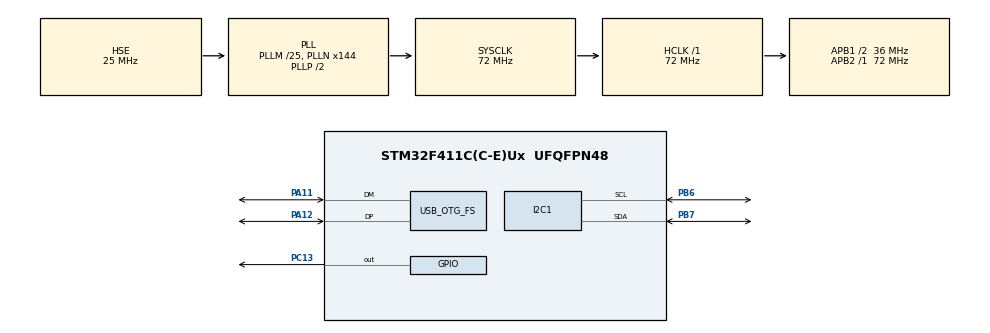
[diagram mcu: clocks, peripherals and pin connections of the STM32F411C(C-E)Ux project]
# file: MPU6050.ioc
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Mcu.Family=STM32F4
Mcu.Name=STM32F411C(C-E)Ux
Mcu.Package=UFQFPN48
NVIC.OTG_FS_IRQn=true\:0\:0\:false\:false\:true\:false\:true\:true
NVIC.PriorityGroup=NVIC_PRIORITYGROUP_4
PA11.Mode=Device_Only
PA11.Signal=USB_OTG_FS_DM
PA12.Mode=Device_Only
PA12.Signal=USB_OTG_FS_DP
PB6.Mode=I2C
PB6.Signal=I2C1_SCL
PB7.Mode=I2C
PB7.Signal=I2C1_SDA
PC13-ANTI_TAMP.Signal=GPIO_Output
PH0\ -\ OSC_IN.Mode=HSE-External-Oscillator
PH0\ -\ OSC_IN.Signal=RCC_OSC_IN
PH1\ -\ OSC_OUT.Mode=HSE-External-Oscillator
PH1\ -\ OSC_OUT.Signal=RCC_OSC_OUT
ProjectManager.HeapSize=0x200
ProjectManager.StackSize=0x400
ProjectManager.TargetToolchain=STM32CubeIDE
RCC.48MHZClocksFreq_Value=48000000
RCC.AHBFreq_Value=72000000
RCC.APB1CLKDivider=RCC_HCLK_DIV2
RCC.APB1Freq_Value=36000000
RCC.APB1TimFreq_Value=72000000
RCC.APB2Freq_Value=72000000
RCC.APB2TimFreq_Value=72000000
RCC.CortexFreq_Value=72000000
RCC.HCLKFreq_Value=72000000
RCC.HSE_VALUE=25000000
RCC.HSI_VALUE=16000000
RCC.LSE_VALUE=32768
RCC.PLLM=25
RCC.PLLN=144
RCC.PLLQ=3
RCC.PLLSourceVirtual=RCC_PLLSOURCE_HSE
RCC.SYSCLKFreq_VALUE=72000000
RCC.SYSCLKSource=RCC_SYSCLKSOURCE_PLLCLK
RCC.VCOOutputFreq_Value=144000000
USB_DEVICE.CLASS_NAME_FS=CDC
USB_DEVICE.VirtualMode=Cdc
USB_DEVICE.VirtualModeFS=Cdc_FS
USB_OTG_FS.VirtualMode=Device_Only
VP_USB_DEVICE_VS_USB_DEVICE_CDC_FS.Mode=CDC_FS
board=custom

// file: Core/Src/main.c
/* USER CODE BEGIN Header */
/**
  ******************************************************************************
  * @file           : main.c
  * @brief          : Main program body
  ******************************************************************************
  * @attention
  *
  * Copyright (c) 2024 STMicroelectronics.
  * All rights reserved.
  *
  * This software is licensed under terms that can be found in the LICENSE file
  * in the root directory of this software component.
  * If no LICENSE file comes with this software, it is provided AS-IS.
  *
  ******************************************************************************
  */
/* USER CODE END Header */
#include "main.h"
#include "usb_device.h"

/* USER CODE BEGIN Includes */
#include <stdint.h>
#include <string.h>
#include <stdio.h>
#include <math.h>
#include <usbd_cdc_if.h>

#define MPU6050_ADDR 0x68 << 1  // Dirección I2C del MPU6050
#define WHO_AM_I_REG 0x75       // Registro de identificación del MPU6050
#define PWR_MGMT_1_REG 0x6B     // Registro de gestión de energía
#define ACCEL_XOUT_H 0x3B       // Registro de acelerómetro (X alto)
#define GYRO_XOUT_H  0x43       // Registro de giroscopio (X alto)
/* USER CODE END Includes */

I2C_HandleTypeDef hi2c1;

void SystemClock_Config(void);
static void MX_GPIO_Init(void);
static void MX_I2C1_Init(void);

/* USER CODE BEGIN 0 */
// Enviar datos por USB
void MPU6050_Init(void) {
    uint8_t data;

    // Verifica el WHO_AM_I para asegurarte de que el MPU6050 está presente
    HAL_I2C_Mem_Read(&hi2c1, MPU6050_ADDR, WHO_AM_I_REG, 1, &data, 1, HAL_MAX_DELAY);
    if (data != 0x68) {
        while (1) {
            // Error: MPU6050 no detectado
        }
    }

    // Salir del modo de suspensión
    data = 0x00;
    HAL_I2C_Mem_Write(&hi2c1, MPU6050_ADDR, PWR_MGMT_1_REG, 1, &data, 1, HAL_MAX_DELAY);
}

void MPU6050_ReadAccel(int16_t *accel) {
    uint8_t buffer[6];

    // Leer registros de acelerómetro
    HAL_I2C_Mem_Read(&hi2c1, MPU6050_ADDR, ACCEL_XOUT_H, 1, buffer, 6, HAL_MAX_DELAY);

    // Convertir datos a valores de 16 bits
    accel[0] = (int16_t)(buffer[0] << 8 | buffer[1]); // X
    accel[1] = (int16_t)(buffer[2] << 8 | buffer[3]); // Y
    accel[2] = (int16_t)(buffer[4] << 8 | buffer[5]); // Z
}

void MPU6050_ReadGyro(int16_t *gyro) {
    uint8_t buffer[6];

    // Leer registros de giroscopio
    HAL_I2C_Mem_Read(&hi2c1, MPU6050_ADDR, GYRO_XOUT_H, 1, buffer, 6, HAL_MAX_DELAY);

    // Convertir datos a valores de 16 bits
    gyro[0] = (int16_t)(buffer[0] << 8 | buffer[1]); // X
    gyro[1] = (int16_t)(buffer[2] << 8 | buffer[3]); // Y
    gyro[2] = (int16_t)(buffer[4] << 8 | buffer[5]); // Z
}

void CalibrateGyro(int16_t *gyro_bias) {
    int16_t gyro[3];
    int32_t gyro_sum[3] = {0, 0, 0};
    const int num_samples = 100;

    // Toma múltiples lecturas en reposo
    for (int i = 0; i < num_samples; i++) {
        MPU6050_ReadGyro(gyro);
        gyro_sum[0] += gyro[0];
        gyro_sum[1] += gyro[1];
        gyro_sum[2] += gyro[2];
        HAL_Delay(10); // Espera entre lecturas
    }

    // Calcula el promedio
    gyro_bias[0] = gyro_sum[0] / num_samples;
    gyro_bias[1] = gyro_sum[1] / num_samples;
    gyro_bias[2] = gyro_sum[2] / num_samples;

    // Enviar datos de calibración por Bluetooth
    char buffer[128];
    snprintf(buffer, sizeof(buffer),
             "Gyro Bias: X=%d, Y=%d, Z=%d\r\n",
             gyro_bias[0], gyro_bias[1], gyro_bias[2]);
    Send_Data_USB(buffer);
}
void Send_Data_USB(const char *data) {
    CDC_Transmit_FS((uint8_t *)data, strlen(data));
}
/* USER CODE END 0 */

int main(void)
{

  /* MCU Configuration--------------------------------------------------------*/

  /* Reset of all peripherals, Initializes the Flash interface and the Systick. */
  HAL_Init();

  /* Configure the system clock */
  SystemClock_Config();

  /* Initialize all configured peripherals */
  MX_GPIO_Init();
  MX_I2C1_Init();
  MX_USB_DEVICE_Init();
  /* USER CODE BEGIN 2 */

  MPU6050_Init();

  int16_t accel[3], gyro[3], gyro_bias[3];
  char buffer[128];
  float angle_acc, angle_gyro = 0, angle_fused = 0;
  const float dt = 0.01; // Intervalo de tiempo (10 ms)
  const float alpha = 0.98; // Constante del filtro complementario
  /* USER CODE END 2 */

  /* Infinite loop */
  while (1)
  {
      MPU6050_ReadAccel(accel);
      MPU6050_ReadGyro(gyro);

      // Calcular el ángulo del acelerómetro (basado en la inclinación)
      angle_acc = atan2((float)accel[1], (float)accel[2]) * (180.0 / M_PI);

      // Corregir el sesgo del giroscopio y calcular el cambio de ángulo
      gyro[0] -= gyro_bias[0]; // Usamos solo el eje X para el giro en este caso
      angle_gyro += ((float)gyro[0] / 131.0) * dt; // 131.0 es la sensibilidad del giroscopio en dps

      // Fusión del ángulo usando el filtro complementario
      angle_fused = alpha * (angle_fused + ((float)gyro[0] / 131.0) * dt) + (1 - alpha) * angle_acc;

      // Formatea los datos en un buffer
      snprintf(buffer, sizeof(buffer),
               "Accel Angle: %.2f | Gyro Angle: %.2f | Fused Angle: %.2f\r\n",
               angle_acc, angle_gyro, angle_fused);

      // Enviar los datos por Bluetooth
      Send_Data_USB(buffer);

      HAL_Delay(10); // Espera 10 ms
  }
}

void SystemClock_Config(void)
{
  RCC_OscInitTypeDef RCC_OscInitStruct = {0};
  RCC_ClkInitTypeDef RCC_ClkInitStruct = {0};

  /** Configure the main internal regulator output voltage
  */
  __HAL_RCC_PWR_CLK_ENABLE();
  __HAL_PWR_VOLTAGESCALING_CONFIG(PWR_REGULATOR_VOLTAGE_SCALE1);

  /** Initializes the RCC Oscillators according to the specified parameters
  * in the RCC_OscInitTypeDef structure.
  */
  RCC_OscInitStruct.OscillatorType = RCC_OSCILLATORTYPE_HSE;
  RCC_OscInitStruct.HSEState = RCC_HSE_ON;
  RCC_OscInitStruct.PLL.PLLState = RCC_PLL_ON;
  RCC_OscInitStruct.PLL.PLLSource = RCC_PLLSOURCE_HSE;
  RCC_OscInitStruct.PLL.PLLM = 25;
  RCC_OscInitStruct.PLL.PLLN = 144;
  RCC_OscInitStruct.PLL.PLLP = RCC_PLLP_DIV2;
  RCC_OscInitStruct.PLL.PLLQ = 3;
  if (HAL_RCC_OscConfig(&RCC_OscInitStruct) != HAL_OK)
  {
    Error_Handler();
  }

  /** Initializes the CPU, AHB and APB buses clocks
  */
  RCC_ClkInitStruct.ClockType = RCC_CLOCKTYPE_HCLK|RCC_CLOCKTYPE_SYSCLK
                              |RCC_CLOCKTYPE_PCLK1|RCC_CLOCKTYPE_PCLK2;
  RCC_ClkInitStruct.SYSCLKSource = RCC_SYSCLKSOURCE_PLLCLK;
  RCC_ClkInitStruct.AHBCLKDivider = RCC_SYSCLK_DIV1;
  RCC_ClkInitStruct.APB1CLKDivider = RCC_HCLK_DIV2;
  RCC_ClkInitStruct.APB2CLKDivider = RCC_HCLK_DIV1;

  if (HAL_RCC_ClockConfig(&RCC_ClkInitStruct, FLASH_LATENCY_2) != HAL_OK)
  {
    Error_Handler();
  }
}

static void MX_I2C1_Init(void)
{

  hi2c1.Instance = I2C1;
  hi2c1.Init.ClockSpeed = 100000;
  hi2c1.Init.DutyCycle = I2C_DUTYCYCLE_2;
  hi2c1.Init.OwnAddress1 = 0;
  hi2c1.Init.AddressingMode = I2C_ADDRESSINGMODE_7BIT;
  hi2c1.Init.DualAddressMode = I2C_DUALADDRESS_DISABLE;
  hi2c1.Init.OwnAddress2 = 0;
  hi2c1.Init.GeneralCallMode = I2C_GENERALCALL_DISABLE;
  hi2c1.Init.NoStretchMode = I2C_NOSTRETCH_DISABLE;
  if (HAL_I2C_Init(&hi2c1) != HAL_OK)
  {
    Error_Handler();
  }

}

static void MX_GPIO_Init(void)
{
  GPIO_InitTypeDef GPIO_InitStruct = {0};

  /* GPIO Ports Clock Enable */
  __HAL_RCC_GPIOC_CLK_ENABLE();
  __HAL_RCC_GPIOH_CLK_ENABLE();
  __HAL_RCC_GPIOA_CLK_ENABLE();
  __HAL_RCC_GPIOB_CLK_ENABLE();

  /*Configure GPIO pin Output Level */
  HAL_GPIO_WritePin(GPIOC, GPIO_PIN_13, GPIO_PIN_RESET);

  /*Configure GPIO pin : PC13 */
  GPIO_InitStruct.Pin = GPIO_PIN_13;
  GPIO_InitStruct.Mode = GPIO_MODE_OUTPUT_PP;
  GPIO_InitStruct.Pull = GPIO_NOPULL;
  GPIO_InitStruct.Speed = GPIO_SPEED_FREQ_LOW;
  HAL_GPIO_Init(GPIOC, &GPIO_InitStruct);

}

void Error_Handler(void)
{
  __disable_irq();
  while (1)
  {
  }
}
